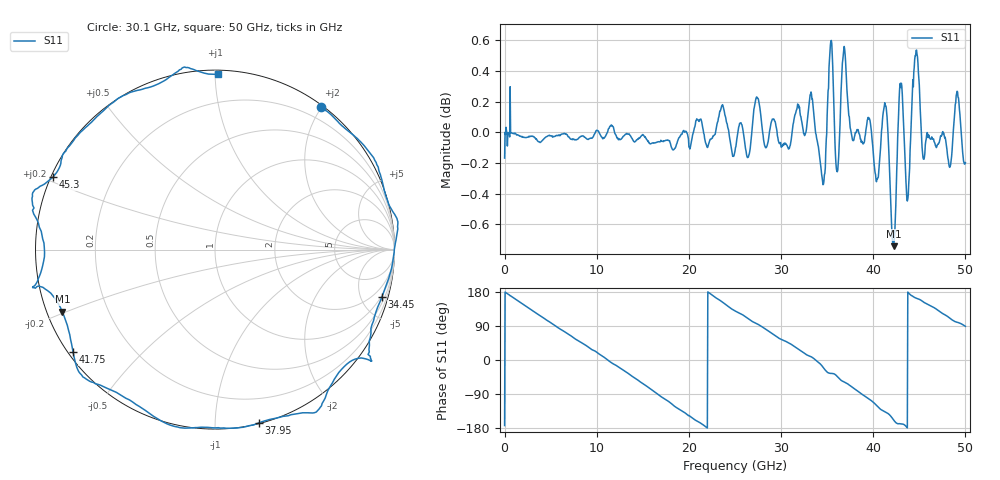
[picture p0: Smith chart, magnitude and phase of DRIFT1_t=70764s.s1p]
!Created with skrf (http://scikit-rf.org).
# Hz S RI R 50.0
!freq ReS11 ImS11
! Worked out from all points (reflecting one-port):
!   1001 points, 300 kHz to 50 GHz, reference 50 ohm
!   lowest |S11| = -0.7 dB at 42.2 GHz (marker M1), VSWR 23.39, Z = 2.22 - j9.75 ohm
!   phase of S11 starts at -173 deg and turns -818 deg over the sweep
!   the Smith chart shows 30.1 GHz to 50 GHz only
!   S11 on the Smith chart (normalised r, x): 30.1 GHz: 0.03, +1.99; 34.45 GHz: 0.87, -7.04; 37.95 GHz: 0.00, -1.29; 41.75 GHz: 0.01, -0.32; 45.3 GHz: 0.01, +0.21; 50 GHz: 0.02, +1.02
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300000  -0.9734 -0.1201
1.450291e9  -0.9124 0.4041
3.25028e9  -0.593 0.8001
6.250262e9  0.199 0.9786
9.500243e9  0.8877 0.4508
1.250022e10  0.9303 -0.3513
1.580021e10  0.2422 -0.9612
1.74002e10  -0.2231 -0.9682
1.875019e10  -0.5986 -0.7922
2.165017e10  -0.9909 -0.122
2.345016e10  -0.9297 0.4122
2.500015e10  -0.6283 0.7597
2.745014e10  -0.084 1.022
3.010012e10  0.5906 0.7941
3.125011e10  0.7817 0.628
3.32001e10  1.016 0.1645
3.445009e10  0.9295 -0.2653
3.520009e10  0.8654 -0.5946
3.750008e10  0.3784 -0.9292
3.795007e10  0.245 -0.9657
3.965006e10  -0.2539 -0.9763
4.175005e10  -0.7905 -0.5707
4.220005e10  -0.8504 -0.3457
4.290004e10  -1.015 -0.2116
4.375004e10  -0.951 0.0118
4.530003e10  -0.9016 0.4054
4.765001e10  -0.5145 0.8566
5e10  0.0189 0.9772
